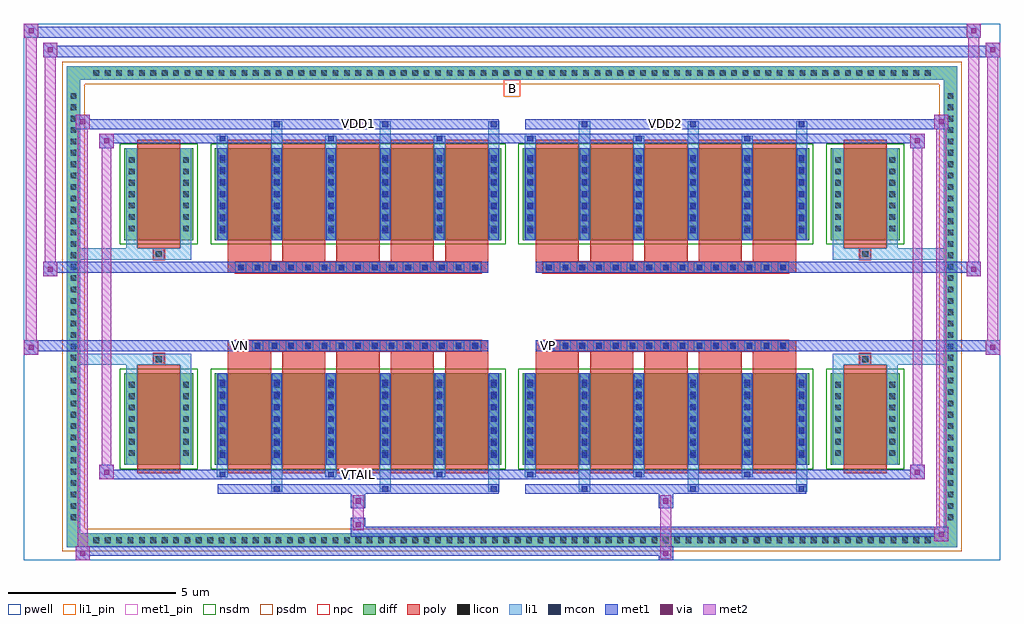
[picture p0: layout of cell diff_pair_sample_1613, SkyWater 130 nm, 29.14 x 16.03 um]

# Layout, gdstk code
import gdstk
lib = gdstk.Library(unit=1e-6, precision=5e-09)
def R(c, l, rs):  # rectangles x0, y0, x1, y1
    for r in rs: c.add(gdstk.rectangle(r[:2], r[2:], *l))
def A(c, l, x, y, w, h, nx, ny, dx, dy):  # array of equal rectangles
    R(c, l, [(x+i*dx, y+j*dy, x+i*dx+w, y+j*dy+h) for i in range(nx) for j in range(ny)])
def P(c, l, *ps):  # polygons
    for p in ps: c.add(gdstk.Polygon(p, *l))
pwell = (64, 44)
diff = (65, 20)
poly = (66, 20)
licon = (66, 44)
li1_pin = (67, 16)
li1 = (67, 20)
mcon = (67, 44)
met1_pin = (68, 16)
met1 = (68, 20)
via = (68, 44)
met2 = (69, 20)
nsdm = (93, 44)
psdm = (94, 20)
npc = (95, 20)

diff_pair_sample_1613 = lib.new_cell('diff_pair_sample_1613')
R(diff_pair_sample_1613, pwell, [(-14.57,-7.58,14.57,8.45), (-11.89,-5.77,-0.01,-0.805), (0.01,-5.77,11.89,-0.805), (-11.89,0.805,-0.01,5.77), (0.01,0.805,11.89,5.77)])
A(diff_pair_sample_1613, diff, -12.615, -7.18, 0.41, 0.41, 74, 2, 0.34, 13.95)
A(diff_pair_sample_1613, diff, -13.3, -6.495, 0.41, 0.41, 1, 38, 0, 0.34)
A(diff_pair_sample_1613, diff, 12.89, -6.495, 0.41, 0.41, 1, 38, 0, 0.34)
R(diff_pair_sample_1613, diff, [(-12.615,-7.18,12.615,-6.77), (-13.3,-6.495,-12.89,6.495), (12.89,-6.495,13.3,6.495), (-11.58,-4.725,-9.51,-1.985), (-8.87,-4.725,-0.32,-1.985), (0.32,-4.725,8.87,-1.985), (9.51,-4.725,11.58,-1.985), (-11.58,1.985,-9.51,4.725), (-8.87,1.985,-0.32,4.725), (0.32,1.985,8.87,4.725), (9.51,1.985,11.58,4.725), (-12.615,6.77,12.615,7.18)])
P(diff_pair_sample_1613, diff, [(13.3,7.18),(-13.3,7.18),(-13.3,-6.77),(-12.89,-6.77),(-12.89,6.77),(12.89,6.77),(12.89,-6.77),(-12.89,-6.77),(-13.3,-6.77),(-13.3,-7.18),(13.3,-7.18)])
A(diff_pair_sample_1613, poly, -8.48, -4.975, 1.29, 3.24, 5, 2, 1.62, 6.71)
A(diff_pair_sample_1613, poly, 0.71, -4.975, 1.29, 3.24, 5, 2, 1.62, 6.71)
A(diff_pair_sample_1613, poly, -8.48, -1.735, 1.29, 0.4, 5, 2, 1.62, 3.07)
A(diff_pair_sample_1613, poly, 0.71, -1.735, 1.29, 0.4, 5, 2, 1.62, 3.07)
A(diff_pair_sample_1613, poly, -8.26, -1.335, 0.33, 0.33, 15, 2, 0.5, 2.34)
A(diff_pair_sample_1613, poly, 0.93, -1.335, 0.33, 0.33, 15, 2, 0.5, 2.34)
R(diff_pair_sample_1613, poly, [(-11.19,-4.975,-9.9,-1.735), (9.9,-4.975,11.19,-1.735), (-10.71,-1.735,-10.38,-1.405), (-10.71,-1.735,-10.38,-1.405), (10.38,-1.735,10.71,-1.405), (10.38,-1.735,10.71,-1.405), (-8.48,-1.335,-0.71,-1.005), (0.71,-1.335,8.48,-1.005), (-8.48,1.005,-0.71,1.335), (0.71,1.005,8.48,1.335), (-10.71,1.405,-10.38,1.735), (-10.71,1.405,-10.38,1.735), (10.38,1.405,10.71,1.735), (10.38,1.405,10.71,1.735), (-11.19,1.735,-9.9,4.975), (9.9,1.735,11.19,4.975)])
A(diff_pair_sample_1613, licon, -12.495, -7.06, 0.17, 0.17, 74, 2, 0.34, 13.95)
A(diff_pair_sample_1613, licon, -13.18, -6.375, 0.17, 0.17, 1, 38, 0, 0.34)
A(diff_pair_sample_1613, licon, 13.01, -6.375, 0.17, 0.17, 1, 38, 0, 0.34)
A(diff_pair_sample_1613, licon, -11.44, -4.46, 0.17, 0.17, 1, 7, 0, 0.34)
A(diff_pair_sample_1613, licon, -9.82, -4.46, 0.17, 0.17, 1, 7, 0, 0.34)
A(diff_pair_sample_1613, licon, -8.73, -4.46, 0.17, 0.17, 6, 7, 1.62, 0.34)
A(diff_pair_sample_1613, licon, 0.46, -4.46, 0.17, 0.17, 6, 7, 1.62, 0.34)
A(diff_pair_sample_1613, licon, 9.65, -4.46, 0.17, 0.17, 1, 7, 0, 0.34)
A(diff_pair_sample_1613, licon, 11.27, -4.46, 0.17, 0.17, 1, 7, 0, 0.34)
A(diff_pair_sample_1613, licon, -8.18, -1.255, 0.17, 0.17, 15, 2, 0.5, 2.34)
A(diff_pair_sample_1613, licon, 1.01, -1.255, 0.17, 0.17, 15, 2, 0.5, 2.34)
A(diff_pair_sample_1613, licon, -11.44, 2.25, 0.17, 0.17, 1, 7, 0, 0.34)
A(diff_pair_sample_1613, licon, -9.82, 2.25, 0.17, 0.17, 1, 7, 0, 0.34)
A(diff_pair_sample_1613, licon, -8.73, 2.25, 0.17, 0.17, 6, 7, 1.62, 0.34)
A(diff_pair_sample_1613, licon, 0.46, 2.25, 0.17, 0.17, 6, 7, 1.62, 0.34)
A(diff_pair_sample_1613, licon, 9.65, 2.25, 0.17, 0.17, 1, 7, 0, 0.34)
A(diff_pair_sample_1613, licon, 11.27, 2.25, 0.17, 0.17, 1, 7, 0, 0.34)
R(diff_pair_sample_1613, licon, [(-10.63,-1.655,-10.46,-1.485), (10.46,-1.655,10.63,-1.485), (-10.63,1.485,-10.46,1.655), (10.46,1.485,10.63,1.655)])
R(diff_pair_sample_1613, li1_pin, [(-0.25,6.27,0.25,6.77)])
A(diff_pair_sample_1613, li1, -12.575, -7.14, 0.33, 0.33, 74, 2, 0.34, 13.95)
A(diff_pair_sample_1613, li1, -13.26, -6.455, 0.33, 0.33, 1, 38, 0, 0.34)
A(diff_pair_sample_1613, li1, 12.93, -6.455, 0.33, 0.33, 1, 38, 0, 0.34)
A(diff_pair_sample_1613, li1, -7.19, -5.53, 0.33, 0.805, 3, 2, 3.24, 10.255)
A(diff_pair_sample_1613, li1, -7.11, -5.53, 0.17, 0.17, 3, 2, 3.24, 10.89)
A(diff_pair_sample_1613, li1, 2, -5.53, 0.33, 0.805, 3, 2, 3.24, 10.255)
A(diff_pair_sample_1613, li1, 2.08, -5.53, 0.17, 0.17, 3, 2, 3.24, 10.89)
A(diff_pair_sample_1613, li1, -8.81, -5.1, 0.33, 0.375, 3, 2, 3.24, 9.825)
A(diff_pair_sample_1613, li1, -8.73, -5.1, 0.17, 0.17, 3, 2, 3.24, 10.03)
A(diff_pair_sample_1613, li1, 0.38, -5.1, 0.33, 0.375, 3, 2, 3.24, 9.825)
A(diff_pair_sample_1613, li1, 0.46, -5.1, 0.17, 0.17, 3, 2, 3.24, 10.03)
A(diff_pair_sample_1613, li1, -8.81, -4.725, 0.33, 2.74, 6, 2, 1.62, 6.71)
A(diff_pair_sample_1613, li1, 0.38, -4.725, 0.33, 2.74, 6, 2, 1.62, 6.71)
A(diff_pair_sample_1613, li1, -11.52, -4.54, 0.33, 0.33, 1, 7, 0, 0.34)
A(diff_pair_sample_1613, li1, -9.9, -4.54, 0.33, 0.33, 1, 7, 0, 0.34)
A(diff_pair_sample_1613, li1, -8.81, -4.54, 0.33, 0.33, 6, 7, 1.62, 0.34)
A(diff_pair_sample_1613, li1, 0.38, -4.54, 0.33, 0.33, 6, 7, 1.62, 0.34)
A(diff_pair_sample_1613, li1, 9.57, -4.54, 0.33, 0.33, 1, 7, 0, 0.34)
A(diff_pair_sample_1613, li1, 11.19, -4.54, 0.33, 0.33, 1, 7, 0, 0.34)
A(diff_pair_sample_1613, li1, -8.73, -4.52, 0.17, 0.17, 6, 7, 1.62, 0.36)
A(diff_pair_sample_1613, li1, -8.73, -4.52, 0.17, 2.33, 6, 2, 1.62, 6.71)
A(diff_pair_sample_1613, li1, 0.46, -4.52, 0.17, 0.17, 6, 7, 1.62, 0.36)
A(diff_pair_sample_1613, li1, 0.46, -4.52, 0.17, 2.33, 6, 2, 1.62, 6.71)
A(diff_pair_sample_1613, li1, -8.26, -1.335, 0.33, 0.33, 15, 2, 0.5, 2.34)
A(diff_pair_sample_1613, li1, 0.93, -1.335, 0.33, 0.33, 15, 2, 0.5, 2.34)
A(diff_pair_sample_1613, li1, -11.52, 2.17, 0.33, 0.33, 1, 7, 0, 0.34)
A(diff_pair_sample_1613, li1, -9.9, 2.17, 0.33, 0.33, 1, 7, 0, 0.34)
A(diff_pair_sample_1613, li1, -8.81, 2.17, 0.33, 0.33, 6, 7, 1.62, 0.34)
A(diff_pair_sample_1613, li1, 0.38, 2.17, 0.33, 0.33, 6, 7, 1.62, 0.34)
A(diff_pair_sample_1613, li1, 9.57, 2.17, 0.33, 0.33, 1, 7, 0, 0.34)
A(diff_pair_sample_1613, li1, 11.19, 2.17, 0.33, 0.33, 1, 7, 0, 0.34)
A(diff_pair_sample_1613, li1, -8.73, 2.19, 0.17, 0.17, 6, 7, 1.62, 0.36)
A(diff_pair_sample_1613, li1, 0.46, 2.19, 0.17, 0.17, 6, 7, 1.62, 0.36)
R(diff_pair_sample_1613, li1, [(-13.3,-7.18,-12.89,-6.77), (-13.3,-7.18,-12.89,-6.77), (-12.89,-7.18,12.89,-6.77), (12.89,-7.18,13.3,-6.77), (12.89,-7.18,13.3,-6.77), (-13.3,-6.77,-12.89,6.77), (12.89,-6.77,13.3,6.77), (-11.52,-4.725,-11.19,-1.985), (-9.9,-4.725,-9.57,-1.985), (9.57,-4.725,9.9,-1.985), (11.19,-4.725,11.52,-1.985), (-11.52,-1.985,-11.19,-1.405), (-9.9,-1.985,-9.57,-1.405), (9.57,-1.985,9.9,-1.405), (11.19,-1.985,11.52,-1.405), (-13.3,-1.735,-10.71,-1.405), (-11.52,-1.735,-10.71,-1.405), (-10.71,-1.735,-10.38,-1.405), (-10.38,-1.735,-9.57,-1.405), (9.57,-1.735,10.38,-1.405), (10.38,-1.735,10.71,-1.405), (10.38,-1.735,13.3,-1.405), (10.71,-1.735,11.52,-1.405), (-13.3,1.405,-10.71,1.735), (-11.52,1.405,-10.71,1.735), (-11.52,1.405,-11.19,1.985), (-10.71,1.405,-10.38,1.735), (-10.38,1.405,-9.57,1.735), (-9.9,1.405,-9.57,1.985), (9.57,1.405,10.38,1.735), (9.57,1.405,9.9,1.985), (10.38,1.405,10.71,1.735), (10.38,1.405,13.3,1.735), (10.71,1.405,11.52,1.735), (11.19,1.405,11.52,1.985), (-11.52,1.985,-11.19,4.725), (-9.9,1.985,-9.57,4.725), (9.57,1.985,9.9,4.725), (11.19,1.985,11.52,4.725), (-13.3,6.77,-12.89,7.18), (-13.3,6.77,-12.89,7.18), (-12.89,6.77,12.89,7.18), (12.89,6.77,13.3,7.18), (12.89,6.77,13.3,7.18)])
A(diff_pair_sample_1613, mcon, -7.11, -5.53, 0.17, 0.17, 3, 2, 3.24, 10.89)
A(diff_pair_sample_1613, mcon, 2.08, -5.53, 0.17, 0.17, 3, 2, 3.24, 10.89)
A(diff_pair_sample_1613, mcon, -8.73, -5.1, 0.17, 0.17, 3, 2, 3.24, 10.03)
A(diff_pair_sample_1613, mcon, 0.46, -5.1, 0.17, 0.17, 3, 2, 3.24, 10.03)
A(diff_pair_sample_1613, mcon, -8.73, -4.52, 0.17, 0.17, 6, 7, 1.62, 0.36)
A(diff_pair_sample_1613, mcon, 0.46, -4.52, 0.17, 0.17, 6, 7, 1.62, 0.36)
A(diff_pair_sample_1613, mcon, -8.18, -1.255, 0.17, 0.17, 15, 2, 0.5, 2.34)
A(diff_pair_sample_1613, mcon, 1.01, -1.255, 0.17, 0.17, 15, 2, 0.5, 2.34)
A(diff_pair_sample_1613, mcon, -8.73, 2.19, 0.17, 0.17, 6, 7, 1.62, 0.36)
A(diff_pair_sample_1613, mcon, 0.46, 2.19, 0.17, 0.17, 6, 7, 1.62, 0.36)
R(diff_pair_sample_1613, met1_pin, [(-4.73,-5.14,-4.46,-4.87), (-8.23,-1.295,-7.96,-1.025), (0.96,-1.295,1.23,-1.025), (-4.73,5.32,-4.46,5.59), (4.46,5.32,4.73,5.59)])
A(diff_pair_sample_1613, met1, -7.17, -5.59, 0.29, 0.29, 3, 2, 3.24, 10.89)
A(diff_pair_sample_1613, met1, 2.02, -5.59, 0.29, 0.29, 3, 2, 3.24, 10.89)
A(diff_pair_sample_1613, met1, -8.79, -5.16, 0.29, 0.29, 3, 2, 3.24, 10.03)
A(diff_pair_sample_1613, met1, 0.4, -5.16, 0.29, 0.29, 3, 2, 3.24, 10.03)
A(diff_pair_sample_1613, met1, -8.79, -4.725, 0.29, 2.74, 6, 2, 1.62, 6.71)
A(diff_pair_sample_1613, met1, 0.4, -4.725, 0.29, 2.74, 6, 2, 1.62, 6.71)
A(diff_pair_sample_1613, met1, -8.79, -4.58, 0.29, 0.29, 6, 7, 1.62, 0.36)
A(diff_pair_sample_1613, met1, 0.4, -4.58, 0.29, 0.29, 6, 7, 1.62, 0.36)
A(diff_pair_sample_1613, met1, -8.24, -1.315, 0.29, 0.29, 15, 2, 0.5, 2.34)
A(diff_pair_sample_1613, met1, 0.95, -1.315, 0.29, 0.29, 15, 2, 0.5, 2.34)
A(diff_pair_sample_1613, met1, -8.79, 2.13, 0.29, 0.29, 6, 7, 1.62, 0.36)
A(diff_pair_sample_1613, met1, 0.4, 2.13, 0.29, 0.29, 6, 7, 1.62, 0.36)
R(diff_pair_sample_1613, met1, [(-13.03,-7.58,-12.6,-7.15), (4.38,-7.58,4.81,-7.15), (-13.03,-7.44,4.81,-7.15), (12.6,-7.01,13.03,-6.58), (-4.81,-6.87,13.03,-6.58), (-4.81,-6.73,-4.38,-6.3), (-4.81,-6.02,-4.38,-5.59), (4.38,-6.02,4.81,-5.59), (-8.79,-5.59,-0.4,-5.3), (0.4,-5.59,8.79,-5.3), (-12.32,-5.16,-11.89,-4.73), (-12.32,-5.16,-8.79,-4.87), (-8.79,-5.16,-0.4,-4.87), (-0.4,-5.16,0.4,-4.87), (0.4,-5.16,8.79,-4.87), (8.79,-5.16,12.32,-4.87), (11.89,-5.16,12.32,-4.73), (-14.57,-1.435,-14.14,-1.005), (14.14,-1.435,14.57,-1.005), (-14.57,-1.335,-0.71,-1.005), (-8.48,-1.335,-0.71,-1.005), (0.71,-1.335,8.48,-1.005), (0.71,-1.335,14.57,-1.005), (-14,0.905,-13.57,1.335), (13.57,0.905,14,1.335), (-14,1.005,-8.48,1.335), (-8.48,1.005,-0.71,1.335), (0.71,1.005,8.48,1.335), (8.48,1.005,14,1.335), (-12.32,4.73,-11.89,5.16), (11.89,4.73,12.32,5.16), (-12.32,4.87,-8.79,5.16), (-8.79,4.87,-0.4,5.16), (-0.4,4.87,0.4,5.16), (0.4,4.87,8.79,5.16), (8.79,4.87,12.32,5.16), (-13.03,5.3,-12.6,5.73), (-13.03,5.3,-8.79,5.59), (-8.79,5.3,-0.4,5.59), (0.4,5.3,8.79,5.59), (8.79,5.3,13.03,5.59), (12.6,5.3,13.03,5.73), (-14,7.45,-13.57,7.88), (-14,7.45,-11.89,7.78), (-11.89,7.45,11.89,7.78), (11.89,7.45,14.57,7.78), (14.14,7.45,14.57,7.88), (-14.57,8.02,-14.14,8.45), (-14.57,8.02,-11.89,8.35), (-11.89,8.02,11.89,8.35), (11.89,8.02,14,8.35), (13.57,8.02,14,8.45)])
R(diff_pair_sample_1613, via, [(-12.89,-7.44,-12.74,-7.29), (4.52,-7.44,4.67,-7.29), (12.74,-6.87,12.89,-6.72), (-4.67,-6.59,-4.52,-6.44), (-4.67,-5.88,-4.52,-5.73), (4.52,-5.88,4.67,-5.73), (-12.18,-5.02,-12.03,-4.87), (12.03,-5.02,12.18,-4.87), (-14.43,-1.295,-14.28,-1.145), (14.28,-1.295,14.43,-1.145), (-13.86,1.045,-13.71,1.195), (13.71,1.045,13.86,1.195), (-12.18,4.87,-12.03,5.02), (12.03,4.87,12.18,5.02), (-12.89,5.44,-12.74,5.59), (12.74,5.44,12.89,5.59), (-13.86,7.59,-13.71,7.74), (14.28,7.59,14.43,7.74), (-14.43,8.16,-14.28,8.31), (13.71,8.16,13.86,8.31)])
R(diff_pair_sample_1613, met2, [(-13.03,-7.58,-12.6,-7.15), (-12.96,-7.58,-12.67,5.73), (-12.67,-7.58,-12.6,-7.15), (-12.98,-7.53,-12.65,-7.2), (4.43,-7.53,4.76,-7.2), (4.43,-7.2,4.76,-5.97), (12.6,-7.01,13.03,-6.58), (12.67,-7.01,12.96,5.73), (12.96,-7.01,13.03,-6.58), (12.65,-6.96,12.98,-6.63), (-4.76,-6.68,-4.43,-6.35), (-4.76,-6.35,-4.43,-5.97), (-4.76,-5.97,-4.43,-5.64), (4.43,-5.97,4.76,-5.64), (-12.32,-5.16,-11.89,-4.73), (-12.25,-5.16,-11.96,5.16), (-11.96,-5.16,-11.89,-4.73), (11.89,-5.16,12.32,-4.73), (11.96,-5.16,12.25,5.16), (12.25,-5.16,12.32,-4.73), (-12.27,-5.11,-11.94,-4.78), (11.94,-5.11,12.27,-4.78), (-14.57,-1.435,-14.14,-1.005), (-14.52,-1.435,-14.19,8.45), (-14.19,-1.435,-14.14,-1.005), (14.14,-1.435,14.57,-1.005), (14.19,-1.435,14.52,7.88), (14.52,-1.435,14.57,-1.005), (-14.52,-1.385,-14.19,-1.055), (14.19,-1.385,14.52,-1.055), (-14,0.905,-13.57,1.335), (-13.95,0.905,-13.62,7.88), (-13.62,0.905,-13.57,1.335), (13.57,0.905,14,1.335), (13.62,0.905,13.95,8.45), (13.95,0.905,14,1.335), (-13.95,0.955,-13.62,1.285), (13.62,0.955,13.95,1.285), (-12.32,4.73,-11.89,5.16), (-11.96,4.73,-11.89,5.16), (11.89,4.73,12.32,5.16), (12.25,4.73,12.32,5.16), (-12.27,4.78,-11.94,5.11), (11.94,4.78,12.27,5.11), (-13.03,5.3,-12.6,5.73), (-12.67,5.3,-12.6,5.73), (12.6,5.3,13.03,5.73), (12.96,5.3,13.03,5.73), (-12.98,5.35,-12.65,5.68), (12.65,5.35,12.98,5.68), (-14,7.45,-13.57,7.88), (-13.62,7.45,-13.57,7.88), (14.14,7.45,14.57,7.88), (14.52,7.45,14.57,7.88), (-13.95,7.5,-13.62,7.83), (14.19,7.5,14.52,7.83), (-14.57,8.02,-14.14,8.45), (-14.19,8.02,-14.14,8.45), (13.57,8.02,14,8.45), (13.95,8.02,14,8.45), (-14.52,8.07,-14.19,8.4), (13.62,8.07,13.95,8.4)])
R(diff_pair_sample_1613, nsdm, [(-11.71,-4.855,-9.38,-1.855), (-9,-4.855,-0.19,-1.855), (0.19,-4.855,9,-1.855), (9.38,-4.855,11.71,-1.855), (-11.71,1.855,-9.38,4.855), (-9,1.855,-0.19,4.855), (0.19,1.855,9,4.855), (9.38,1.855,11.71,4.855)])
P(diff_pair_sample_1613, psdm, [(13.43,7.31),(-13.43,7.31),(-13.43,-6.64),(-12.76,-6.64),(-12.76,6.64),(12.76,6.64),(12.76,-6.64),(-12.76,-6.64),(-13.43,-6.64),(-13.43,-7.31),(13.43,-7.31)])
A(diff_pair_sample_1613, npc, -8.28, -1.355, 0.37, 0.37, 15, 2, 0.5, 2.34)
A(diff_pair_sample_1613, npc, 0.91, -1.355, 0.37, 0.37, 15, 2, 0.5, 2.34)
R(diff_pair_sample_1613, npc, [(-10.73,-1.755,-10.36,-1.385), (10.36,-1.755,10.73,-1.385), (-8.28,-1.355,-7.41,-0.985), (-8.28,-1.355,-7.41,-0.985), (-7.78,-1.355,-6.91,-0.985), (-7.78,-1.355,-6.91,-0.985), (-7.28,-1.355,-6.41,-0.985), (-7.28,-1.355,-6.41,-0.985), (-6.78,-1.355,-5.91,-0.985), (-6.78,-1.355,-5.91,-0.985), (-6.28,-1.355,-5.41,-0.985), (-6.28,-1.355,-5.41,-0.985), (-5.78,-1.355,-4.91,-0.985), (-5.78,-1.355,-4.91,-0.985), (-5.28,-1.355,-4.41,-0.985), (-5.28,-1.355,-4.41,-0.985), (-4.78,-1.355,-3.91,-0.985), (-4.78,-1.355,-3.91,-0.985), (-4.28,-1.355,-3.41,-0.985), (-4.28,-1.355,-3.41,-0.985), (-3.78,-1.355,-2.91,-0.985), (-3.78,-1.355,-2.91,-0.985), (-3.28,-1.355,-2.41,-0.985), (-3.28,-1.355,-2.41,-0.985), (-2.78,-1.355,-1.91,-0.985), (-2.78,-1.355,-1.91,-0.985), (-2.28,-1.355,-1.41,-0.985), (-2.28,-1.355,-1.41,-0.985), (-1.78,-1.355,-0.91,-0.985), (-1.78,-1.355,-0.91,-0.985), (0.91,-1.355,1.78,-0.985), (0.91,-1.355,1.78,-0.985), (1.41,-1.355,2.28,-0.985), (1.41,-1.355,2.28,-0.985), (1.91,-1.355,2.78,-0.985), (1.91,-1.355,2.78,-0.985), (2.41,-1.355,3.28,-0.985), (2.41,-1.355,3.28,-0.985), (2.91,-1.355,3.78,-0.985), (2.91,-1.355,3.78,-0.985), (3.41,-1.355,4.28,-0.985), (3.41,-1.355,4.28,-0.985), (3.91,-1.355,4.78,-0.985), (3.91,-1.355,4.78,-0.985), (4.41,-1.355,5.28,-0.985), (4.41,-1.355,5.28,-0.985), (4.91,-1.355,5.78,-0.985), (4.91,-1.355,5.78,-0.985), (5.41,-1.355,6.28,-0.985), (5.41,-1.355,6.28,-0.985), (5.91,-1.355,6.78,-0.985), (5.91,-1.355,6.78,-0.985), (6.41,-1.355,7.28,-0.985), (6.41,-1.355,7.28,-0.985), (6.91,-1.355,7.78,-0.985), (6.91,-1.355,7.78,-0.985), (7.41,-1.355,8.28,-0.985), (7.41,-1.355,8.28,-0.985), (-8.28,0.985,-7.41,1.355), (-8.28,0.985,-7.41,1.355), (-7.78,0.985,-6.91,1.355), (-7.78,0.985,-6.91,1.355), (-7.28,0.985,-6.41,1.355), (-7.28,0.985,-6.41,1.355), (-6.78,0.985,-5.91,1.355), (-6.78,0.985,-5.91,1.355), (-6.28,0.985,-5.41,1.355), (-6.28,0.985,-5.41,1.355), (-5.78,0.985,-4.91,1.355), (-5.78,0.985,-4.91,1.355), (-5.28,0.985,-4.41,1.355), (-5.28,0.985,-4.41,1.355), (-4.78,0.985,-3.91,1.355), (-4.78,0.985,-3.91,1.355), (-4.28,0.985,-3.41,1.355), (-4.28,0.985,-3.41,1.355), (-3.78,0.985,-2.91,1.355), (-3.78,0.985,-2.91,1.355), (-3.28,0.985,-2.41,1.355), (-3.28,0.985,-2.41,1.355), (-2.78,0.985,-1.91,1.355), (-2.78,0.985,-1.91,1.355), (-2.28,0.985,-1.41,1.355), (-2.28,0.985,-1.41,1.355), (-1.78,0.985,-0.91,1.355), (-1.78,0.985,-0.91,1.355), (0.91,0.985,1.78,1.355), (0.91,0.985,1.78,1.355), (1.41,0.985,2.28,1.355), (1.41,0.985,2.28,1.355), (1.91,0.985,2.78,1.355), (1.91,0.985,2.78,1.355), (2.41,0.985,3.28,1.355), (2.41,0.985,3.28,1.355), (2.91,0.985,3.78,1.355), (2.91,0.985,3.78,1.355), (3.41,0.985,4.28,1.355), (3.41,0.985,4.28,1.355), (3.91,0.985,4.78,1.355), (3.91,0.985,4.78,1.355), (4.41,0.985,5.28,1.355), (4.41,0.985,5.28,1.355), (4.91,0.985,5.78,1.355), (4.91,0.985,5.78,1.355), (5.41,0.985,6.28,1.355), (5.41,0.985,6.28,1.355), (5.91,0.985,6.78,1.355), (5.91,0.985,6.78,1.355), (6.41,0.985,7.28,1.355), (6.41,0.985,7.28,1.355), (6.91,0.985,7.78,1.355), (6.91,0.985,7.78,1.355), (7.41,0.985,8.28,1.355), (7.41,0.985,8.28,1.355), (-10.73,1.385,-10.36,1.755), (10.36,1.385,10.73,1.755)])
diff_pair_sample_1613.add(gdstk.Label('VTAIL', (-4.595,-5.005), layer=68, texttype=5))
diff_pair_sample_1613.add(gdstk.Label('VN', (-8.095,-1.16), layer=68, texttype=5))
diff_pair_sample_1613.add(gdstk.Label('VP', (1.095,-1.16), layer=68, texttype=5))
diff_pair_sample_1613.add(gdstk.Label('B', (0,6.52), layer=67, texttype=5))
diff_pair_sample_1613.add(gdstk.Label('VDD2', (4.595,5.455), layer=68, texttype=5))
diff_pair_sample_1613.add(gdstk.Label('VDD1', (-4.595,5.455), layer=68, texttype=5))

lib.write_gds('diff_pair_sample_1613.gds')
